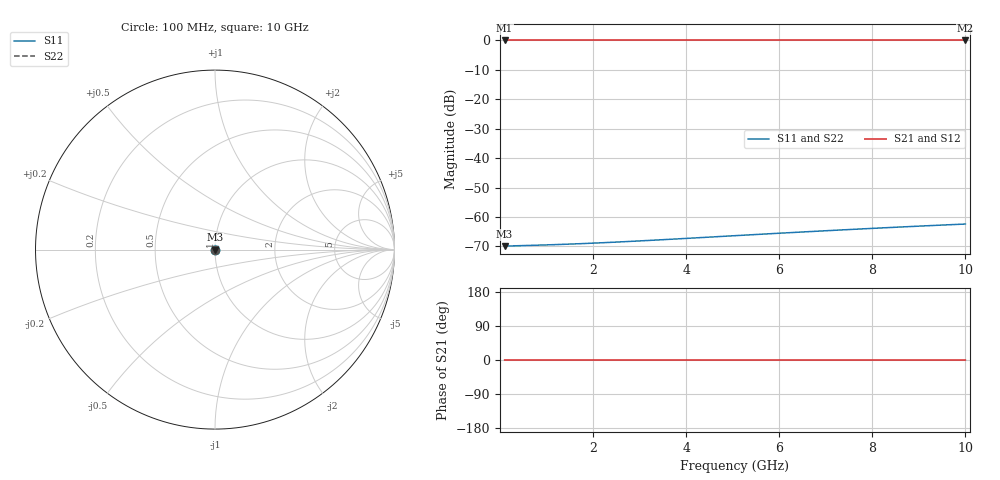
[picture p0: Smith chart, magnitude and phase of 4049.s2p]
# Hz S RI R 50.00
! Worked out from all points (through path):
!   100 points, 100 MHz to 10 GHz, reference 50 ohm
!   highest |S21| = 0.00 dB at 100 MHz (marker M1); lowest = 0.0 dB at 10 GHz (marker M2)
!   lowest |S11| = -69.9 dB at 100 MHz (marker M3), VSWR 1.00, Z = 50 + j0.000678 ohm
!   |S11| at or under -10 dB: start of sweep to end of sweep
!   |S22| runs from -69.9 to -62.4 dB; largest |S21 - S12| = 1e-15
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1e8  0.000319 6.77e-06  0.9997 -8.62e-06  0.9997 -8.62e-06  0.000319 6.77e-06
2e8  0.000322 1.35e-05  0.9997 -1.72e-05  0.9997 -1.72e-05  0.000322 1.35e-05
3e8  0.000323 2.03e-05  0.9997 -2.58e-05  0.9997 -2.58e-05  0.000323 2.03e-05
8e8  0.000328 5.42e-05  0.9997 -6.89e-05  0.9997 -6.89e-05  0.000328 5.42e-05
1.1e9  0.00033 7.45e-05  0.9997 -9.48e-05  0.9997 -9.48e-05  0.00033 7.45e-05
1.4e9  0.000331 9.48e-05  0.9997 -0.000121  0.9997 -0.000121  0.000331 9.48e-05
1.6e9  0.000332 0.000108  0.9997 -0.000138  0.9997 -0.000138  0.000332 0.000108
1.8e9  0.000333 0.000122  0.9997 -0.000155  0.9997 -0.000155  0.000333 0.000122
2.1e9  0.000334 0.000142  0.9997 -0.000181  0.9997 -0.000181  0.000334 0.000142
2.5e9  0.000335 0.000169  0.9997 -0.000215  0.9997 -0.000215  0.000335 0.000169
2.9e9  0.000336 0.000196  0.9997 -0.00025  0.9997 -0.00025  0.000336 0.000196
3.4e9  0.000337 0.00023  0.9997 -0.000293  0.9997 -0.000293  0.000337 0.00023
4e9  0.000338 0.000271  0.9997 -0.000345  0.9997 -0.000345  0.000338 0.000271
5.1e9  0.000339 0.000345  0.9997 -0.00044  0.9997 -0.00044  0.000339 0.000345
6e9  0.00034 0.000406  0.9997 -0.000517  0.9997 -0.000517  0.00034 0.000406
6.7e9  0.000341 0.000454  0.9997 -0.000577  0.9997 -0.000577  0.000341 0.000454
7.2e9  0.000341 0.000488  0.9997 -0.000621  0.9997 -0.000621  0.000341 0.000488
7.6e9  0.000342 0.000515  0.9997 -0.000655  0.9997 -0.000655  0.000342 0.000515
8.4e9  0.000342 0.000569  0.9997 -0.000724  0.9997 -0.000724  0.000342 0.000569
8.8e9  0.000343 0.000596  0.9997 -0.000759  0.9997 -0.000759  0.000343 0.000596
9.2e9  0.000343 0.000623  0.9997 -0.000793  0.9997 -0.000793  0.000343 0.000623
1e10  0.000344 0.000677  0.9997 -0.000862  0.9997 -0.000862  0.000344 0.000677
